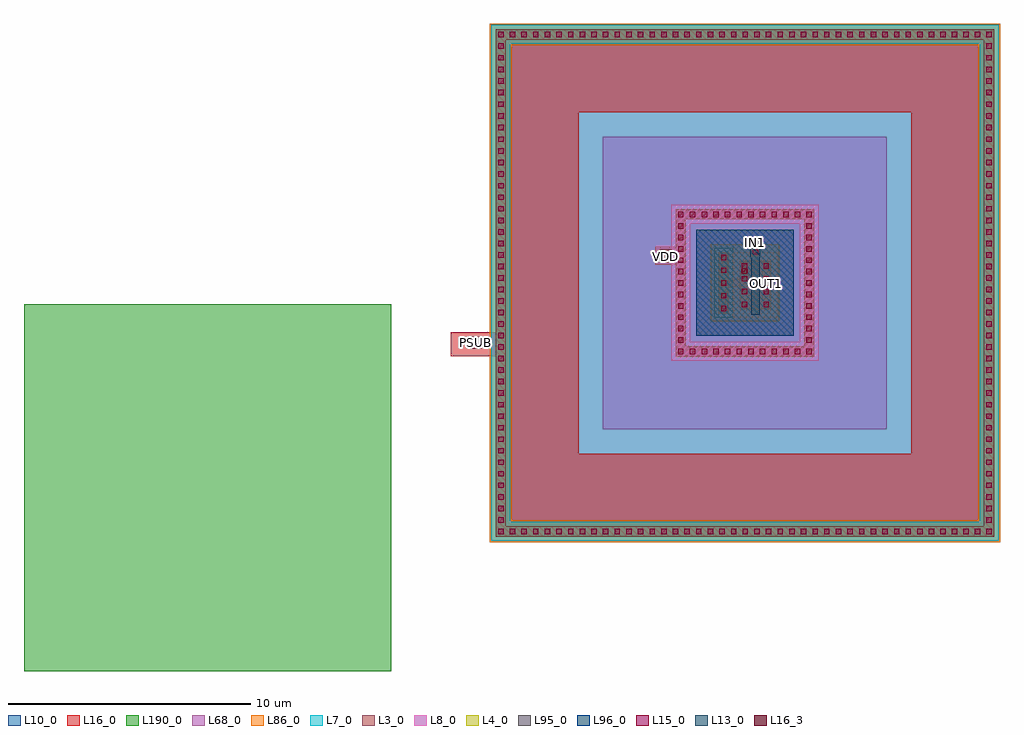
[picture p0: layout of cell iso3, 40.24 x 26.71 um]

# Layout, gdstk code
import gdstk
lib = gdstk.Library(unit=1e-6, precision=1e-09)
def R(c, l, rs):  # rectangles x0, y0, x1, y1
    for r in rs: c.add(gdstk.rectangle(r[:2], r[2:], *l))
def A(c, l, x, y, w, h, nx, ny, dx, dy):  # array of equal rectangles
    R(c, l, [(x+i*dx, y+j*dy, x+i*dx+w, y+j*dy+h) for i in range(nx) for j in range(ny)])
def P(c, l, *ps):  # polygons
    for p in ps: c.add(gdstk.Polygon(p, *l))
L3_0 = (3, 0)
L4_0 = (4, 0)
L7_0 = (7, 0)
L8_0 = (8, 0)
L10_0 = (10, 0)
L13_0 = (13, 0)
L15_0 = (15, 0)
L16_0 = (16, 0)
L16_3 = (16, 3)
L68_0 = (68, 0)
L86_0 = (86, 0)
L95_0 = (95, 0)
L96_0 = (96, 0)
L190_0 = (190, 0)

ne3i_6_cdns_718812950710 = lib.new_cell('ne3i_6_CDNS_718812950710')
R(ne3i_6_cdns_718812950710, L3_0, [(-0.48,0,0,2), (0,0,0.35,2), (0.35,0,0.83,2)])
R(ne3i_6_cdns_718812950710, L4_0, [(-1.66,-0.49,1.15,2.68), (-1.66,-0.49,1.15,2.68)])
R(ne3i_6_cdns_718812950710, L7_0, [(-1.52,-0.35,-0.74,2.54)])
R(ne3i_6_cdns_718812950710, L8_0, [(-0.74,-0.35,1.09,2.35), (-0.74,-0.35,1.09,2.35)])
P(ne3i_6_cdns_718812950710, L8_0, [(2.78,4.31),(2,4.31),(2,-1.34),(-2.51,-1.34),(-2.51,3.53),(2,3.53),(2,4.31),(-3.29,4.31),(-3.29,-2.12),(2.78,-2.12)])
R(ne3i_6_cdns_718812950710, L10_0, [(-10.11,-8.94,9.6,11.13)])
R(ne3i_6_cdns_718812950710, L13_0, [(0,-0.22,0.35,0), (0,-0.22,0.35,-0.12), (0,0,0.35,2), (0,2,0.35,2.15)])
A(ne3i_6_cdns_718812950710, L15_0, -10.43, -9.26, 0.22, 0.22, 1, 31, 0, 0.475)
A(ne3i_6_cdns_718812950710, L15_0, -10.43, -9.26, 0.22, 0.22, 37, 2, 0.48, 20.49)
A(ne3i_6_cdns_718812950710, L15_0, 7.325, -9.26, 0.22, 0.22, 6, 2, 0.475, 20.49)
A(ne3i_6_cdns_718812950710, L15_0, 9.7, -9.26, 0.22, 0.22, 1, 31, 0, 0.475)
A(ne3i_6_cdns_718812950710, L15_0, -3.01, -1.84, 0.22, 0.22, 1, 11, 0, 0.47)
A(ne3i_6_cdns_718812950710, L15_0, -3.01, -1.84, 0.22, 0.22, 3, 2, 0.485, 5.65)
A(ne3i_6_cdns_718812950710, L15_0, -1.56, -1.84, 0.22, 0.22, 9, 2, 0.48, 5.65)
A(ne3i_6_cdns_718812950710, L15_0, 2.28, -1.84, 0.22, 0.22, 1, 11, 0, 0.47)
A(ne3i_6_cdns_718812950710, L15_0, -1.24, -0.07, 0.22, 0.22, 1, 3, 0, 0.525)
A(ne3i_6_cdns_718812950710, L15_0, -0.38, 0.63, 0.22, 0.22, 1, 3, 0, 0.525)
A(ne3i_6_cdns_718812950710, L15_0, 0.51, 0.63, 0.22, 0.22, 1, 3, 0, 0.525)
A(ne3i_6_cdns_718812950710, L15_0, -10.43, 5.47, 0.22, 0.22, 1, 13, 0, 0.48)
A(ne3i_6_cdns_718812950710, L15_0, 9.7, 5.47, 0.22, 0.22, 1, 13, 0, 0.48)
R(ne3i_6_cdns_718812950710, L15_0, [(-0.38,0.1,-0.16,0.32), (0.51,0.1,0.73,0.32), (-1.24,1.51,-1.02,1.73), (-1.24,2.04,-1.02,2.26), (0.065,2.25,0.285,2.47), (-3.01,3.335,-2.79,3.555), (2.28,3.335,2.5,3.555), (-3.01,3.81,-2.79,4.03), (2.28,3.81,2.5,4.03)])
R(ne3i_6_cdns_718812950710, L68_0, [(-6.11,-4.94,5.6,7.13)])
R(ne3i_6_cdns_718812950710, L95_0, [(-2.26,-1.09,1.75,3.28)])
R(ne3i_6_cdns_718812950710, L96_0, [(-2.26,-1.09,1.75,3.28)])
ne3i_6_cdns_718812950710.add(gdstk.FlexPath([(-0.035,2.36),(0.385,2.36)], 0.42, ends="flush", simple_path=True, layer=13, datatype=0))  # L13_0
ne3i_6_cdns_718812950710.add(gdstk.FlexPath([(-10.53,-9.15),(10.02,-9.15)], 0.42, ends="flush", simple_path=True, layer=3, datatype=0))  # L3_0
ne3i_6_cdns_718812950710.add(gdstk.FlexPath([(-10.53,11.34),(10.02,11.34)], 0.42, ends="flush", simple_path=True, layer=3, datatype=0))  # L3_0
ne3i_6_cdns_718812950710.add(gdstk.FlexPath([(9.81,11.55),(9.81,-9.36)], 0.42, ends="flush", simple_path=True, layer=3, datatype=0))  # L3_0
ne3i_6_cdns_718812950710.add(gdstk.FlexPath([(-10.32,11.55),(-10.32,-9.36)], 0.42, ends="flush", simple_path=True, layer=3, datatype=0))  # L3_0
ne3i_6_cdns_718812950710.add(gdstk.FlexPath([(-3.11,-1.73),(2.6,-1.73)], 0.42, ends="flush", simple_path=True, layer=3, datatype=0))  # L3_0
ne3i_6_cdns_718812950710.add(gdstk.FlexPath([(-3.11,3.92),(2.6,3.92)], 0.42, ends="flush", simple_path=True, layer=3, datatype=0))  # L3_0
ne3i_6_cdns_718812950710.add(gdstk.FlexPath([(2.39,4.13),(2.39,-1.94)], 0.42, ends="flush", simple_path=True, layer=3, datatype=0))  # L3_0
ne3i_6_cdns_718812950710.add(gdstk.FlexPath([(-2.9,4.13),(-2.9,-1.94)], 0.42, ends="flush", simple_path=True, layer=3, datatype=0))  # L3_0
ne3i_6_cdns_718812950710.add(gdstk.FlexPath([(-1.13,2.36),(-1.13,-0.17)], 0.42, ends="flush", simple_path=True, layer=3, datatype=0))  # L3_0
ne3i_6_cdns_718812950710.add(gdstk.FlexPath([(-10.49,-9.15),(9.98,-9.15)], 0.34, ends="flush", simple_path=True, layer=16, datatype=0))  # L16_0
ne3i_6_cdns_718812950710.add(gdstk.FlexPath([(-10.49,-7.63),(9.98,-7.63)], 3.38, ends="flush", simple_path=True, layer=16, datatype=0))  # L16_0
ne3i_6_cdns_718812950710.add(gdstk.FlexPath([(-10.49,11.34),(9.98,11.34)], 0.34, ends="flush", simple_path=True, layer=16, datatype=0))  # L16_0
ne3i_6_cdns_718812950710.add(gdstk.FlexPath([(-10.49,9.82),(9.98,9.82)], 3.38, ends="flush", simple_path=True, layer=16, datatype=0))  # L16_0
ne3i_6_cdns_718812950710.add(gdstk.FlexPath([(9.81,11.51),(9.81,-9.32)], 0.34, ends="flush", simple_path=True, layer=16, datatype=0))  # L16_0
ne3i_6_cdns_718812950710.add(gdstk.FlexPath([(8.29,11.51),(8.29,-9.32)], 3.38, ends="flush", simple_path=True, layer=16, datatype=0))  # L16_0
ne3i_6_cdns_718812950710.add(gdstk.FlexPath([(-10.32,11.51),(-10.32,-9.32)], 0.34, ends="flush", simple_path=True, layer=16, datatype=0))  # L16_0
ne3i_6_cdns_718812950710.add(gdstk.FlexPath([(-8.8,11.51),(-8.8,-9.32)], 3.38, ends="flush", simple_path=True, layer=16, datatype=0))  # L16_0
ne3i_6_cdns_718812950710.add(gdstk.FlexPath([(-3.07,-1.73),(2.56,-1.73)], 0.34, ends="flush", simple_path=True, layer=16, datatype=0))  # L16_0
ne3i_6_cdns_718812950710.add(gdstk.FlexPath([(-3.07,3.92),(2.56,3.92)], 0.34, ends="flush", simple_path=True, layer=16, datatype=0))  # L16_0
ne3i_6_cdns_718812950710.add(gdstk.FlexPath([(2.39,4.09),(2.39,-1.9)], 0.34, ends="flush", simple_path=True, layer=16, datatype=0))  # L16_0
ne3i_6_cdns_718812950710.add(gdstk.FlexPath([(-2.9,4.09),(-2.9,-1.9)], 0.34, ends="flush", simple_path=True, layer=16, datatype=0))  # L16_0
ne3i_6_cdns_718812950710.add(gdstk.FlexPath([(-1.13,2.32),(-1.13,-0.13)], 0.34, ends="flush", simple_path=True, layer=16, datatype=0))  # L16_0
ne3i_6_cdns_718812950710.add(gdstk.FlexPath([(0.62,0.04),(0.62,1.96)], 0.34, ends="flush", simple_path=True, layer=16, datatype=0))  # L16_0
ne3i_6_cdns_718812950710.add(gdstk.FlexPath([(-0.27,0.04),(-0.27,1.96)], 0.34, ends="flush", simple_path=True, layer=16, datatype=0))  # L16_0
ne3i_6_cdns_718812950710.add(gdstk.FlexPath([(0.005,2.36),(0.345,2.36)], 0.34, ends="flush", simple_path=True, layer=16, datatype=0))  # L16_0
ne3i_6_cdns_718812950710.add(gdstk.FlexPath([(-2.51,-1.73),(2,-1.73)], 0.78, ends=(0.78, 0.78), simple_path=True, layer=8, datatype=0))  # L8_0
ne3i_6_cdns_718812950710.add(gdstk.FlexPath([(-2.51,3.92),(2,3.92)], 0.78, ends=(0.78, 0.78), simple_path=True, layer=8, datatype=0))  # L8_0
ne3i_6_cdns_718812950710.add(gdstk.FlexPath([(2.39,3.53),(2.39,-1.34)], 0.78, ends=(0.78, 0.78), simple_path=True, layer=8, datatype=0))  # L8_0
ne3i_6_cdns_718812950710.add(gdstk.FlexPath([(-2.9,3.53),(-2.9,-1.34)], 0.78, ends=(0.78, 0.78), simple_path=True, layer=8, datatype=0))  # L8_0
ne3i_6_cdns_718812950710.add(gdstk.FlexPath([(-10.71,-9.15),(10.2,-9.15)], 0.78, ends="flush", simple_path=True, layer=7, datatype=0))  # L7_0
ne3i_6_cdns_718812950710.add(gdstk.FlexPath([(-10.71,11.34),(10.2,11.34)], 0.78, ends="flush", simple_path=True, layer=7, datatype=0))  # L7_0
ne3i_6_cdns_718812950710.add(gdstk.FlexPath([(9.81,11.73),(9.81,-9.54)], 0.78, ends="flush", simple_path=True, layer=7, datatype=0))  # L7_0
ne3i_6_cdns_718812950710.add(gdstk.FlexPath([(-10.32,11.73),(-10.32,-9.54)], 0.78, ends="flush", simple_path=True, layer=7, datatype=0))  # L7_0
ne3i_6_cdns_718812950710.add(gdstk.FlexPath([(-1.13,2.54),(-1.13,-0.35)], 0.78, ends="flush", simple_path=True, layer=7, datatype=0))  # L7_0
ne3i_6_cdns_718812950710.add(gdstk.FlexPath([(-9.87,-9.15),(9.36,-9.15)], 0.9, ends=(0.9, 0.9), simple_path=True, layer=86, datatype=0))  # L86_0
ne3i_6_cdns_718812950710.add(gdstk.FlexPath([(-9.87,11.34),(9.36,11.34)], 0.9, ends=(0.9, 0.9), simple_path=True, layer=86, datatype=0))  # L86_0
ne3i_6_cdns_718812950710.add(gdstk.FlexPath([(9.81,10.89),(9.81,-8.7)], 0.9, ends=(0.9, 0.9), simple_path=True, layer=86, datatype=0))  # L86_0
ne3i_6_cdns_718812950710.add(gdstk.FlexPath([(-10.32,10.89),(-10.32,-8.7)], 0.9, ends=(0.9, 0.9), simple_path=True, layer=86, datatype=0))  # L86_0
ne3i_6_cdns_718812950710.add(gdstk.Label('G', (0.175,-0.17), layer=13, texttype=0))
ne3i_6_cdns_718812950710.add(gdstk.Label('D', (0.59,1), layer=3, texttype=0))
ne3i_6_cdns_718812950710.add(gdstk.Label('S', (-0.24,1), layer=3, texttype=0))
ne3i_6_cdns_718812950710.add(gdstk.Label('6T', (0.175,1), layer=13, texttype=5))
ne3i_6_cdns_718812950710.add(gdstk.Label('SB', (-10.49,-9.15), layer=16, texttype=0))
ne3i_6_cdns_718812950710.add(gdstk.Label('SB', (-10.49,11.34), layer=16, texttype=0))
ne3i_6_cdns_718812950710.add(gdstk.Label('SB', (9.81,11.51), layer=16, texttype=0))
ne3i_6_cdns_718812950710.add(gdstk.Label('SB', (-10.32,11.51), layer=16, texttype=0))
ne3i_6_cdns_718812950710.add(gdstk.Label('NW', (-3.07,-1.73), layer=16, texttype=0))
ne3i_6_cdns_718812950710.add(gdstk.Label('NW', (-3.07,3.92), layer=16, texttype=0))
ne3i_6_cdns_718812950710.add(gdstk.Label('NW', (2.39,4.09), layer=16, texttype=0))
ne3i_6_cdns_718812950710.add(gdstk.Label('NW', (-2.9,4.09), layer=16, texttype=0))
ne3i_6_cdns_718812950710.add(gdstk.Label('B', (-1.13,2.32), layer=16, texttype=0))
ne3i_6_cdns_718812950710.add(gdstk.Label('D', (0.62,0.04), layer=16, texttype=0))
ne3i_6_cdns_718812950710.add(gdstk.Label('S', (-0.27,0.04), layer=16, texttype=0))
ne3i_6_cdns_718812950710.add(gdstk.Label('G', (0.005,2.36), layer=16, texttype=0))
ne3i_6_cdns_718812950710.add(gdstk.Label('[@instanceName]', (0.175,1.11), layer=230, texttype=0))

iso3 = lib.new_cell('iso3')
R(iso3, L16_0, [(17.6,12.995,19.665,13.985), (30.455,15.725,30.745,16.25), (29.565,16.125,29.855,16.845), (26.025,16.775,27.225,17.52), (29.985,17.115,30.325,17.9)])
R(iso3, L16_3, [(18.37,13.3,18.87,13.8), (30.485,15.875,30.715,16.105), (29.59,16.4,29.82,16.63), (26.21,16.88,26.71,17.38), (30.045,17.57,30.275,17.8)])
R(iso3, L190_0, [(0,0,15.145,15.145)])
iso3.add(gdstk.FlexPath([(28.85,16.02),(29.71,16.02)], 0.34, ends=(0.17, 0), simple_path=True, layer=16, datatype=0))  # L16_0
iso3.add(gdstk.Reference(ne3i_6_cdns_718812950710, (29.98,14.925)))
iso3.add(gdstk.Label('PSUB', (18.62,13.55), layer=16, texttype=3))
iso3.add(gdstk.Label('VDD', (26.46,17.13), layer=16, texttype=3))
iso3.add(gdstk.Label('IN1', (30.16,17.685), layer=16, texttype=3))
iso3.add(gdstk.Label('OUT1', (30.6,15.99), layer=16, texttype=3))
iso3.add(gdstk.Label('VSS', (29.705,16.515), layer=16, texttype=3))
iso3.add(gdstk.Label('PSUB', (18.61,13.555), layer=16, texttype=15))
iso3.add(gdstk.Label('PSUB', (18.62,13.55), layer=16, texttype=15))
iso3.add(gdstk.Label('VDD', (26.425,17.145), layer=16, texttype=15))
iso3.add(gdstk.Label('VDD', (26.46,17.13), layer=16, texttype=15))
iso3.add(gdstk.Label('VDD', (26.46,17.13), layer=16, texttype=15))
iso3.add(gdstk.Label('VDD', (26.46,17.13), layer=16, texttype=15))
iso3.add(gdstk.Label('OUT1', (30.655,16.06), layer=16, texttype=15))
iso3.add(gdstk.Label('VSS', (29.62,16.43), layer=16, texttype=15))

lib.write_gds('iso3.gds')
